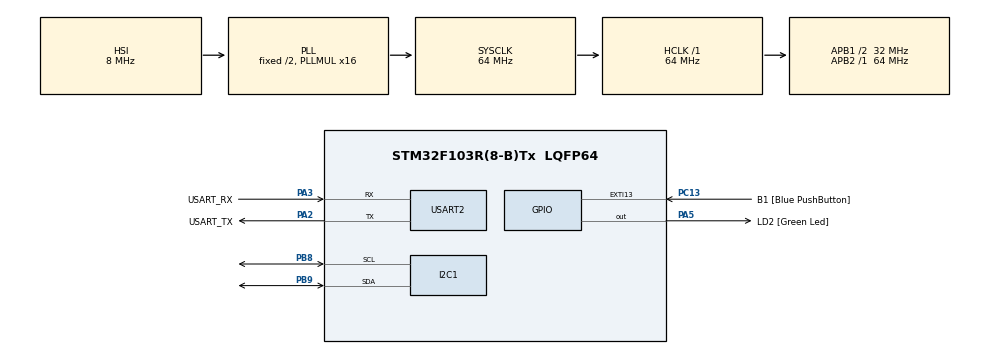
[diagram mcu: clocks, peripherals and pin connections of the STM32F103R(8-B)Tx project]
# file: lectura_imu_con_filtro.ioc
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Mcu.Family=STM32F1
Mcu.Name=STM32F103R(8-B)Tx
Mcu.Package=LQFP64
NVIC.EXTI15_10_IRQn=true\:0\:0\:false\:false\:true\:true\:true\:true
NVIC.PriorityGroup=NVIC_PRIORITYGROUP_4
PA13.GPIO_Label=TMS
PA13.Mode=Serial_Wire
PA13.Signal=SYS_JTMS-SWDIO
PA14.GPIO_Label=TCK
PA14.Mode=Serial_Wire
PA14.Signal=SYS_JTCK-SWCLK
PA2.GPIO_Label=USART_TX
PA2.GPIO_Mode=GPIO_MODE_AF_PP
PA2.GPIO_PuPd=GPIO_NOPULL
PA2.GPIO_Speed=GPIO_SPEED_FREQ_LOW
PA2.Mode=Asynchronous
PA2.Signal=USART2_TX
PA3.GPIO_Label=USART_RX
PA3.GPIO_Mode=GPIO_MODE_AF_PP
PA3.GPIO_PuPd=GPIO_NOPULL
PA3.GPIO_Speed=GPIO_SPEED_FREQ_LOW
PA3.Mode=Asynchronous
PA3.Signal=USART2_RX
PA5.GPIO_Label=LD2 [Green Led]
PA5.GPIO_ModeDefaultOutputPP=GPIO_MODE_OUTPUT_PP
PA5.GPIO_PuPd=GPIO_NOPULL
PA5.GPIO_Speed=GPIO_SPEED_FREQ_LOW
PA5.Signal=GPIO_Output
PB3.GPIO_Label=SWO
PB3.Signal=SYS_JTDO-TRACESWO
PB8.Mode=I2C
PB8.Signal=I2C1_SCL
PB9.Mode=I2C
PB9.Signal=I2C1_SDA
PC13-TAMPER-RTC.GPIO_Label=B1 [Blue PushButton]
PC13-TAMPER-RTC.GPIO_PuPd=GPIO_NOPULL
PC13-TAMPER-RTC.Signal=GPXTI13
PC14-OSC32_IN.Mode=LSE-External-Oscillator
PC14-OSC32_IN.Signal=RCC_OSC32_IN
PC15-OSC32_OUT.Mode=LSE-External-Oscillator
PC15-OSC32_OUT.Signal=RCC_OSC32_OUT
PD0-OSC_IN.Mode=HSE-External-Clock-Source
PD0-OSC_IN.Signal=RCC_OSC_IN
PD1-OSC_OUT.Mode=HSE-External-Clock-Source
PD1-OSC_OUT.Signal=RCC_OSC_OUT
ProjectManager.HeapSize=0x200
ProjectManager.StackSize=0x400
ProjectManager.TargetToolchain=STM32CubeIDE
RCC.AHBFreq_Value=64000000
RCC.APB1CLKDivider=RCC_HCLK_DIV2
RCC.APB1Freq_Value=32000000
RCC.APB1TimFreq_Value=64000000
RCC.APB2Freq_Value=64000000
RCC.APB2TimFreq_Value=64000000
RCC.HCLKFreq_Value=64000000
RCC.PLLMUL=RCC_PLL_MUL16
RCC.RTCClockSelection=RCC_RTCCLKSOURCE_LSE
RCC.SYSCLKFreq_VALUE=64000000
RCC.SYSCLKSource=RCC_SYSCLKSOURCE_PLLCLK
RCC.USBFreq_Value=64000000
USART2.VirtualMode=VM_ASYNC
board=NUCLEO-F103RB

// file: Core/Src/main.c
/* USER CODE BEGIN Header */
/**
  ******************************************************************************
  * @file           : main.c
  * @brief          : Main program body
  ******************************************************************************
  * @attention
  *
  * Copyright (c) 2026 STMicroelectronics.
  * All rights reserved.
  *
  * This software is licensed under terms that can be found in the LICENSE file
  * in the root directory of this software component.
  * If no LICENSE file comes with this software, it is provided AS-IS.
  *
  ******************************************************************************
  */
/* USER CODE END Header */
#include "main.h"

I2C_HandleTypeDef hi2c1;

UART_HandleTypeDef huart2;

void SystemClock_Config(void);
static void MX_GPIO_Init(void);
static void MX_USART2_UART_Init(void);
static void MX_I2C1_Init(void);

/* USER CODE BEGIN 0 */
#include <math.h>
#include <stdint.h>
#include <string.h>
#include <stdarg.h>
#include <stdio.h>

#define MPU_ADDR            (0x68 << 1)
#define REG_PWR_MGMT_1      0x6B
#define REG_GYRO_CONFIG     0x1B
#define REG_ACCEL_CONFIG    0x1C
#define REG_ACCEL_XOUT_H    0x3B

// Choose same ranges as your Arduino example:
// Accel ±8g  => 4096 LSB/g
// Gyro  ±500 => 65.5 LSB/(deg/s)
#define ACC_LSB_PER_G       4096.0f
#define GYRO_LSB_PER_DPS    65.5f

static int16_t be16(const uint8_t *p) { return (int16_t)((p[0] << 8) | p[1]); }

// you already have these, included here for completeness
extern I2C_HandleTypeDef hi2c1;

static HAL_StatusTypeDef mpu_write(uint8_t reg, uint8_t val)
{
  return HAL_I2C_Mem_Write(&hi2c1, MPU_ADDR, reg, I2C_MEMADD_SIZE_8BIT, &val, 1, HAL_MAX_DELAY);
}

static HAL_StatusTypeDef mpu_read(uint8_t reg, uint8_t *data, uint16_t len)
{
  return HAL_I2C_Mem_Read(&hi2c1, MPU_ADDR, reg, I2C_MEMADD_SIZE_8BIT, data, len, HAL_MAX_DELAY);
}
typedef struct {
  float tita_deg;        // filtered angle (deg)
  float tita_prev_deg;
  uint32_t t_prev_ms;
} imu_filter_t;

static imu_filter_t imu = {0};

static void imu_filter_init(imu_filter_t *f)
{
  f->tita_deg = 0.0f;
  f->tita_prev_deg = 0.0f;
  f->t_prev_ms = HAL_GetTick();
}

// Equivalent to your Arduino updateFiltered()
// Uses accel-based angle and gyro rate about X
static void imu_filter_update(imu_filter_t *f,
                              float ax_g, float ay_g, float az_g,
                              float gx_dps)
{
  uint32_t now = HAL_GetTick();
  float dt = (now - f->t_prev_ms) / 1000.0f;
  if (dt <= 0.0f) dt = 0.001f;
  f->t_prev_ms = now;

  // accel angle (deg) — same formula style as your Arduino
  float accel_tita = atanf(ay_g / sqrtf(ax_g*ax_g + az_g*az_g)) * (180.0f / (float)M_PI);

  // complementary filter
  float alpha = 0.98f;
  f->tita_deg = alpha * (f->tita_prev_deg + gx_dps * dt) + (1.0f - alpha) * accel_tita;
  f->tita_prev_deg = f->tita_deg;
}
static void uart_print(const char *s)
{
  HAL_UART_Transmit(&huart2, (uint8_t*)s, (uint16_t)strlen(s), HAL_MAX_DELAY);
}

static void uart_printf(const char *fmt, ...)
{
  char buf[256];
  va_list args;
  va_start(args, fmt);
  vsnprintf(buf, sizeof(buf), fmt, args);
  va_end(args);
  uart_print(buf);
}
/* USER CODE END 0 */

int main(void)
{

  /* MCU Configuration--------------------------------------------------------*/

  /* Reset of all peripherals, Initializes the Flash interface and the Systick. */
  HAL_Init();

  /* Configure the system clock */
  SystemClock_Config();

  /* Initialize all configured peripherals */
  MX_GPIO_Init();
  MX_USART2_UART_Init();
  MX_I2C1_Init();
  /* USER CODE BEGIN 2 */

  imu_filter_init(&imu);
  // Wake up
  mpu_write(REG_PWR_MGMT_1, 0x00);
  HAL_Delay(100);

  // Accel range ±8g  => ACCEL_CONFIG[4:3] = 10
  // Gyro  range ±500 => GYRO_CONFIG[4:3]  = 01
  mpu_write(REG_ACCEL_CONFIG, (2 << 3));
  mpu_write(REG_GYRO_CONFIG,  (1 << 3));
  HAL_Delay(10);

  /* USER CODE END 2 */

  /* Infinite loop */
  while (1)
  {
	  uint8_t raw[14];
	  if (mpu_read(REG_ACCEL_XOUT_H, raw, 14) == HAL_OK) {

	    int16_t ax_raw = be16(&raw[0]);
	    int16_t ay_raw = be16(&raw[2]);
	    int16_t az_raw = be16(&raw[4]);
	    int16_t temp_raw = be16(&raw[6]);
	    int16_t gx_raw = be16(&raw[8]);
	    int16_t gy_raw = be16(&raw[10]);
	    int16_t gz_raw = be16(&raw[12]);

	    // Convert to units used by your filter
	    float ax_g = ax_raw / ACC_LSB_PER_G;
	    float ay_g = ay_raw / ACC_LSB_PER_G;
	    float az_g = az_raw / ACC_LSB_PER_G;

	    float gx_dps = gx_raw / GYRO_LSB_PER_DPS;

	    imu_filter_update(&imu, ax_g, ay_g, az_g, gx_dps);

	    // Print filtered angle
	    uart_printf("tita(deg)=%.2f  ax=%.3f ay=%.3f az=%.3f  gx=%.2f\r\n",
	                imu.tita_deg, ax_g, ay_g, az_g, gx_dps);

	  } else {
	    uart_print("MPU read error\r\n");
	  }

	  HAL_Delay(20); // ~50 Hz update
  }
}

void SystemClock_Config(void)
{
  RCC_OscInitTypeDef RCC_OscInitStruct = {0};
  RCC_ClkInitTypeDef RCC_ClkInitStruct = {0};

  /** Initializes the RCC Oscillators according to the specified parameters
  * in the RCC_OscInitTypeDef structure.
  */
  RCC_OscInitStruct.OscillatorType = RCC_OSCILLATORTYPE_HSI;
  RCC_OscInitStruct.HSIState = RCC_HSI_ON;
  RCC_OscInitStruct.HSICalibrationValue = RCC_HSICALIBRATION_DEFAULT;
  RCC_OscInitStruct.PLL.PLLState = RCC_PLL_ON;
  RCC_OscInitStruct.PLL.PLLSource = RCC_PLLSOURCE_HSI_DIV2;
  RCC_OscInitStruct.PLL.PLLMUL = RCC_PLL_MUL16;
  if (HAL_RCC_OscConfig(&RCC_OscInitStruct) != HAL_OK)
  {
    Error_Handler();
  }

  /** Initializes the CPU, AHB and APB buses clocks
  */
  RCC_ClkInitStruct.ClockType = RCC_CLOCKTYPE_HCLK|RCC_CLOCKTYPE_SYSCLK
                              |RCC_CLOCKTYPE_PCLK1|RCC_CLOCKTYPE_PCLK2;
  RCC_ClkInitStruct.SYSCLKSource = RCC_SYSCLKSOURCE_PLLCLK;
  RCC_ClkInitStruct.AHBCLKDivider = RCC_SYSCLK_DIV1;
  RCC_ClkInitStruct.APB1CLKDivider = RCC_HCLK_DIV2;
  RCC_ClkInitStruct.APB2CLKDivider = RCC_HCLK_DIV1;

  if (HAL_RCC_ClockConfig(&RCC_ClkInitStruct, FLASH_LATENCY_2) != HAL_OK)
  {
    Error_Handler();
  }
}

static void MX_I2C1_Init(void)
{

  hi2c1.Instance = I2C1;
  hi2c1.Init.ClockSpeed = 100000;
  hi2c1.Init.DutyCycle = I2C_DUTYCYCLE_2;
  hi2c1.Init.OwnAddress1 = 0;
  hi2c1.Init.AddressingMode = I2C_ADDRESSINGMODE_7BIT;
  hi2c1.Init.DualAddressMode = I2C_DUALADDRESS_DISABLE;
  hi2c1.Init.OwnAddress2 = 0;
  hi2c1.Init.GeneralCallMode = I2C_GENERALCALL_DISABLE;
  hi2c1.Init.NoStretchMode = I2C_NOSTRETCH_DISABLE;
  if (HAL_I2C_Init(&hi2c1) != HAL_OK)
  {
    Error_Handler();
  }

}

static void MX_USART2_UART_Init(void)
{

  huart2.Instance = USART2;
  huart2.Init.BaudRate = 115200;
  huart2.Init.WordLength = UART_WORDLENGTH_8B;
  huart2.Init.StopBits = UART_STOPBITS_1;
  huart2.Init.Parity = UART_PARITY_NONE;
  huart2.Init.Mode = UART_MODE_TX_RX;
  huart2.Init.HwFlowCtl = UART_HWCONTROL_NONE;
  huart2.Init.OverSampling = UART_OVERSAMPLING_16;
  if (HAL_UART_Init(&huart2) != HAL_OK)
  {
    Error_Handler();
  }

}

static void MX_GPIO_Init(void)
{
  GPIO_InitTypeDef GPIO_InitStruct = {0};

  /* GPIO Ports Clock Enable */
  __HAL_RCC_GPIOC_CLK_ENABLE();
  __HAL_RCC_GPIOD_CLK_ENABLE();
  __HAL_RCC_GPIOA_CLK_ENABLE();
  __HAL_RCC_GPIOB_CLK_ENABLE();

  /*Configure GPIO pin Output Level */
  HAL_GPIO_WritePin(LD2_GPIO_Port, LD2_Pin, GPIO_PIN_RESET);

  /*Configure GPIO pin : B1_Pin */
  GPIO_InitStruct.Pin = B1_Pin;
  GPIO_InitStruct.Mode = GPIO_MODE_IT_RISING;
  GPIO_InitStruct.Pull = GPIO_NOPULL;
  HAL_GPIO_Init(B1_GPIO_Port, &GPIO_InitStruct);

  /*Configure GPIO pin : LD2_Pin */
  GPIO_InitStruct.Pin = LD2_Pin;
  GPIO_InitStruct.Mode = GPIO_MODE_OUTPUT_PP;
  GPIO_InitStruct.Pull = GPIO_NOPULL;
  GPIO_InitStruct.Speed = GPIO_SPEED_FREQ_LOW;
  HAL_GPIO_Init(LD2_GPIO_Port, &GPIO_InitStruct);

  /* EXTI interrupt init*/
  HAL_NVIC_SetPriority(EXTI15_10_IRQn, 0, 0);
  HAL_NVIC_EnableIRQ(EXTI15_10_IRQn);

}

void Error_Handler(void)
{
  __disable_irq();
  while (1)
  {
  }
}
